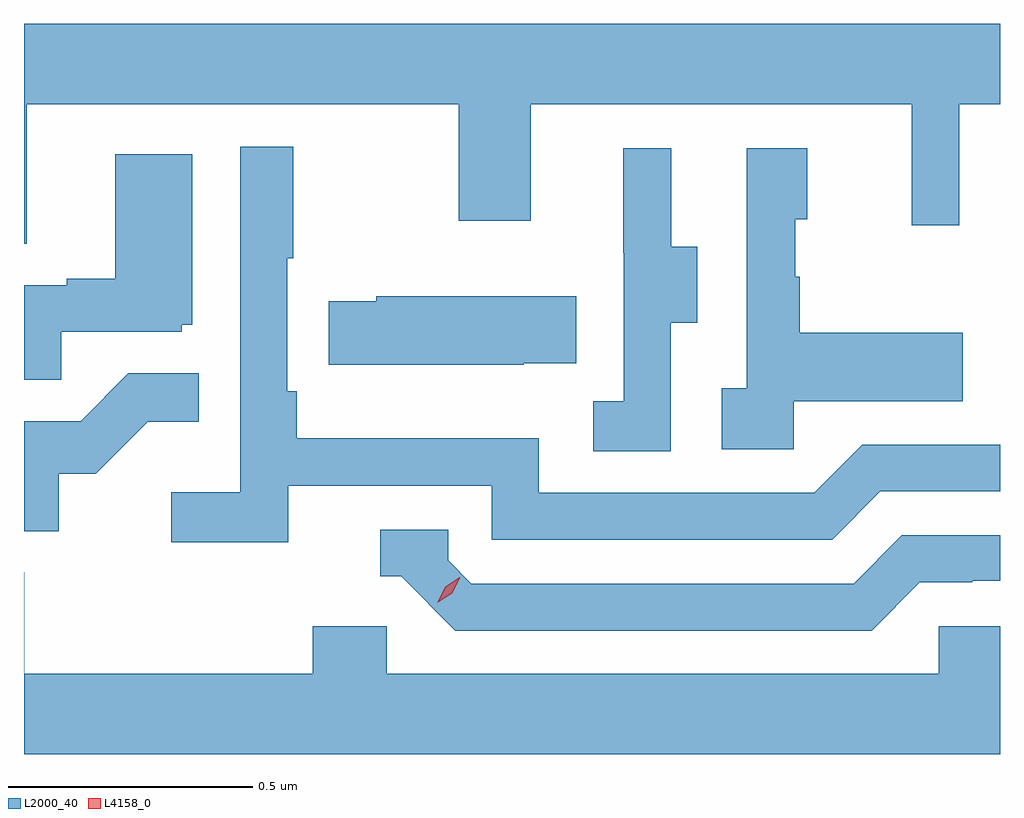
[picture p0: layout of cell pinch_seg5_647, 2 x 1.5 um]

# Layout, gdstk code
import gdstk
lib = gdstk.Library(unit=1e-6, precision=1e-09)
def P(c, l, *ps):  # polygons
    for p in ps: c.add(gdstk.Polygon(p, *l))
L2000_40 = (2000, 40)
L4158_0 = (4158, 0)

pinch_seg5_647 = lib.new_cell('pinch_seg5_647')
P(pinch_seg5_647, L2000_40, [(1053.385,859.424),(1054.27,859.424),(1054.27,859.185),(1054.417,859.185),(1054.417,859.424),(1055.198,859.424),(1055.198,859.176),(1055.295,859.176),(1055.295,859.424),(1055.379,859.424),(1055.379,859.588),(1053.379,859.588),(1053.379,859.138),(1053.385,859.138)],
  [(1053.92,858.642),(1054.338,858.642),(1054.338,858.531),(1055.035,858.531),(1055.134,858.63),(1055.379,858.63),(1055.379,858.726),(1055.097,858.726),(1054.998,858.627),(1054.434,858.627),(1054.434,858.739),(1053.938,858.739),(1053.938,858.835),(1053.918,858.835),(1053.918,859.108),(1053.931,859.108),(1053.931,859.336),(1053.822,859.336),(1053.822,858.628),(1053.681,858.628),(1053.681,858.526),(1053.92,858.526)],
  [(1054.956,858.815),(1055.303,858.815),(1055.303,858.955),(1054.969,858.955),(1054.969,859.07),(1054.959,859.07),(1054.959,859.188),(1054.984,859.188),(1054.984,859.333),(1054.86,859.333),(1054.86,858.842),(1054.809,858.842),(1054.809,858.717),(1054.956,858.717)],
  [(1054.704,858.976),(1054.759,858.976),(1054.759,859.131),(1054.705,859.131),(1054.705,859.333),(1054.607,859.333),(1054.607,859.119),(1054.608,859.119),(1054.608,858.815),(1054.545,858.815),(1054.545,858.712),(1054.704,858.712)],
  [(1053.455,858.957),(1053.702,858.957),(1053.702,858.972),(1053.724,858.972),(1053.724,859.321),(1053.566,859.321),(1053.566,859.066),(1053.467,859.066),(1053.467,859.053),(1053.379,859.053),(1053.379,858.859),(1053.455,858.859)],
  [(1054.403,858.893),(1054.511,858.893),(1054.511,859.03),(1054.101,859.03),(1054.101,859.02),(1054.003,859.02),(1054.003,858.89),(1054.403,858.89)],
  [(1053.45,858.666),(1053.526,858.666),(1053.633,858.773),(1053.737,858.773),(1053.737,858.872),(1053.593,858.872),(1053.495,858.774),(1053.379,858.774),(1053.379,858.549),(1053.45,858.549)],
  [(1055.215,858.444),(1055.322,858.444),(1055.322,858.447),(1055.379,858.447),(1055.379,858.54),(1055.178,858.54),(1055.079,858.441),(1054.296,858.441),(1054.248,858.489),(1054.248,858.552),(1054.109,858.552),(1054.109,858.456),(1054.152,858.456),(1054.263,858.345),(1055.116,858.345)],
  [(1055.379,858.354),(1055.253,858.354),(1055.253,858.256),(1054.122,858.256),(1054.122,858.354),(1053.971,858.354),(1053.971,858.256),(1053.38,858.256),(1053.38,858.464),(1053.379,858.464),(1053.379,858.092),(1055.379,858.092)])
P(pinch_seg5_647, L4158_0, [(1054.226,858.402),(1054.226,858.402),(1054.242,858.435),(1054.272,858.454),(1054.273,858.454),(1054.273,858.454),(1054.257,858.421),(1054.226,858.402)])

lib.write_gds('pinch_seg5_647.gds')
